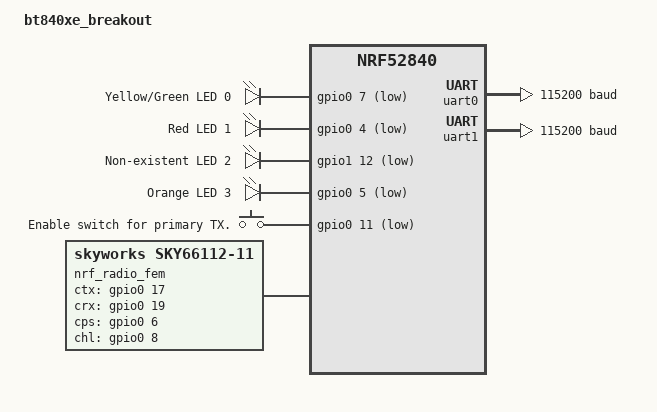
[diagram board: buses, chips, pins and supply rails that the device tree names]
// Copyright (c) 2023 Nordic Semiconductor ASA
// SPDX-License-Identifier: Apache-2.0

/dts-v1/;
#include <nordic/nrf52840_qiaa.dtsi>
#include "bt840xe_breakout-pinctrl.dtsi"

/ {
	model = "bt840xe_breakout";
	compatible = "magpie,bt840xe-breakout";

	chosen {
		zephyr,sram = &sram0;
		zephyr,flash = &flash0;
		zephyr,code-partition = &slot0_partition;
	};

	leds {
		compatible = "gpio-leds";
		led0: led_0 {
			gpios = <&gpio0 7 GPIO_ACTIVE_LOW>;
			label = "Yellow/Green LED 0";
		};
		led1: led_1 {
			gpios = <&gpio0 4 GPIO_ACTIVE_LOW>;
			label = "Red LED 1";
		};
		led2: led_2 {
			gpios = <&gpio1 12 GPIO_ACTIVE_LOW>;
			label = "Non-existent LED 2";
		};
		led3: led_3 {
			gpios = <&gpio0 5 GPIO_ACTIVE_LOW>;
			label = "Orange LED 3";
		};
	};

  inputs: inputs {
    compatible = "gpio-keys";
    tx_enable_sw: enable_sw {
      gpios = <&gpio0 11 (GPIO_PULL_UP | GPIO_ACTIVE_LOW)>;
      label = "Enable switch for primary TX.";
    };
  };

	nrf_radio_fem: radio_fem {
		compatible = "skyworks,sky66112-11", "generic-fem-two-ctrl-pins";
		ctx-gpios = <&gpio0 17 GPIO_ACTIVE_HIGH>;
		crx-gpios = <&gpio0 19 GPIO_ACTIVE_HIGH>;
		cps-gpios = <&gpio0 6 GPIO_ACTIVE_HIGH>;
		chl-gpios = <&gpio0 8 GPIO_ACTIVE_HIGH>;
	};

	aliases {
		led0 = &led0;
		led1 = &led1;
		led2 = &led2;
		led3 = &led3;
	};
};

&gpiote {
	status = "okay";
};

&gpio0 {
	status = "okay";
};

&gpio1 {
	status = "okay";
};

&uart0 {
	compatible = "nordic,nrf-uarte";
	status = "okay";
	current-speed = <115200>;
	pinctrl-0 = <&uart0_default>;
	pinctrl-1 = <&uart0_sleep>;
	pinctrl-names = "default", "sleep";
};

&uart1 {
	status = "okay";
	current-speed = <115200>;
	pinctrl-0 = <&uart1_default>;
	pinctrl-1 = <&uart1_sleep>;
	pinctrl-names = "default", "sleep";
};

&flash0 {
	partitions {
		compatible = "fixed-partitions";
		#address-cells = <1>;
		#size-cells = <1>;

		boot_partition: partition@0 {
			label = "mcuboot";
			reg = <0x0 0xc000>;
		};
		slot0_partition: partition@c000 {
			label = "image-0";
			reg = <0xc000 0x72000>;
		};
		slot1_partition: partition@7e000 {
			label = "image-1";
			reg = <0x7e000 0x72000>;
		};
		scratch_partition: partition@f0000 {
			label = "image-scratch";
			reg = <0xf0000 0xa000>;
		};
		storage_partition: partition@fa000 {
			label = "storage";
			reg = <0xfa000 0x6000>;
		};
	};
};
